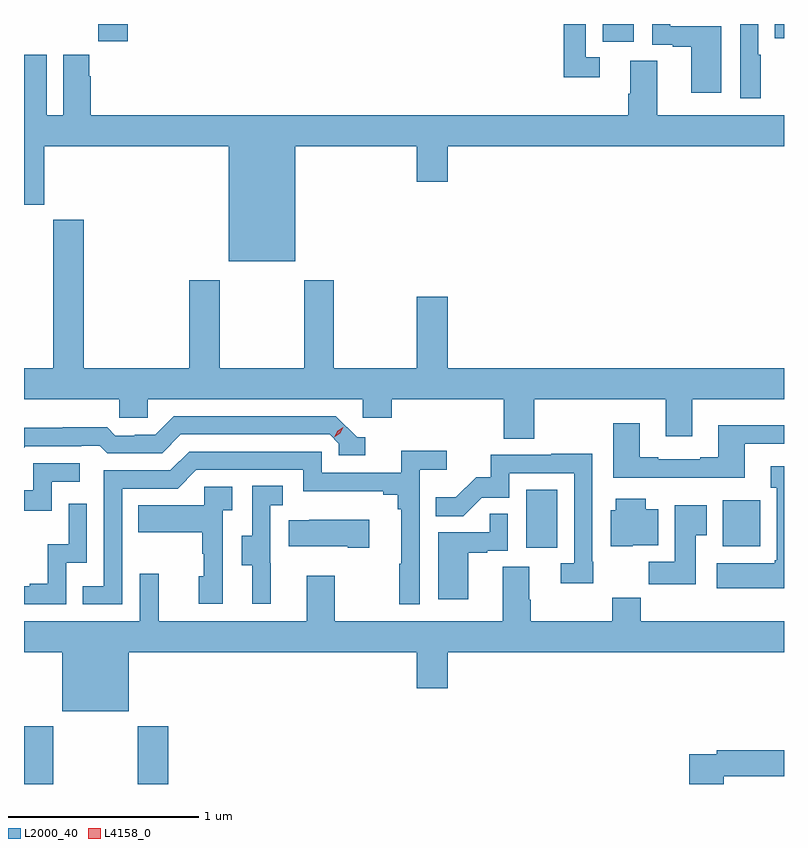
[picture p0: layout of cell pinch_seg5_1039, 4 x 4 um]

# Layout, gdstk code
import gdstk
lib = gdstk.Library(unit=1e-6, precision=1e-09)
def R(c, l, rs):  # rectangles x0, y0, x1, y1
    for r in rs: c.add(gdstk.rectangle(r[:2], r[2:], *l))
def P(c, l, *ps):  # polygons
    for p in ps: c.add(gdstk.Polygon(p, *l))
L2000_40 = (2000, 40)
L4158_0 = (4158, 0)

pinch_seg5_1039 = lib.new_cell('pinch_seg5_1039')
R(pinch_seg5_1039, L2000_40, [(834.269,853.403,834.423,853.708), (834.868,853.403,835.028,853.708), (836.912,854.646,837.076,854.953), (837.947,854.654,838.144,854.896), (837.314,857.31,837.478,857.403), (834.659,857.313,834.815,857.403), (838.219,857.329,838.269,857.403)])
P(pinch_seg5_1039, L2000_40, [(838.147,857.24),(838.134,857.24),(838.134,857.403),(838.038,857.403),(838.038,857.013),(838.147,857.013)],
  [(837.298,857.229),(837.225,857.229),(837.225,857.403),(837.109,857.403),(837.109,857.124),(837.298,857.124)],
  [(837.94,857.391),(837.671,857.391),(837.671,857.403),(837.576,857.403),(837.576,857.295),(837.683,857.295),(837.683,857.283),(837.782,857.283),(837.782,857.04),(837.94,857.04)],
  [(835.696,856.76),(836.336,856.76),(836.336,856.572),(836.5,856.572),(836.5,856.76),(838.269,856.76),(838.269,856.924),(837.601,856.924),(837.601,857.21),(837.461,857.21),(837.461,857.036),(837.449,857.036),(837.449,856.924),(834.62,856.924),(834.62,857.129),(834.613,857.129),(834.613,857.242),(834.476,857.242),(834.476,856.924),(834.388,856.924),(834.388,857.242),(834.269,857.242),(834.269,856.451),(834.376,856.451),(834.376,856.76),(835.346,856.76),(835.346,856.154),(835.696,856.154)],
  [(836.955,855.428),(837.647,855.428),(837.647,855.234),(837.787,855.234),(837.787,855.428),(838.269,855.428),(838.269,855.592),(836.5,855.592),(836.5,855.967),(836.336,855.967),(836.336,855.592),(835.899,855.592),(835.899,856.054),(835.744,856.054),(835.744,855.592),(835.299,855.592),(835.299,856.054),(835.139,856.054),(835.139,855.592),(834.584,855.592),(834.584,856.372),(834.424,856.372),(834.424,855.592),(834.269,855.592),(834.269,855.428),(834.771,855.428),(834.771,855.33),(834.921,855.33),(834.921,855.428),(836.052,855.428),(836.052,855.33),(836.204,855.33),(836.204,855.428),(836.795,855.428),(836.795,855.22),(836.955,855.22)],
  [(836.065,855.228),(836.022,855.228),(835.911,855.339),(835.058,855.339),(834.959,855.24),(834.852,855.24),(834.852,855.237),(834.749,855.237),(834.707,855.28),(834.474,855.28),(834.474,855.277),(834.269,855.277),(834.269,855.173),(834.276,855.18),(834.569,855.18),(834.569,855.183),(834.668,855.183),(834.707,855.144),(834.996,855.144),(835.095,855.243),(835.878,855.243),(835.926,855.195),(835.926,855.132),(836.065,855.132)],
  [(838.063,855.195),(838.269,855.195),(838.269,855.292),(837.923,855.292),(837.923,855.124),(837.827,855.124),(837.827,855.111),(837.607,855.111),(837.607,855.124),(837.511,855.124),(837.511,855.301),(837.371,855.301),(837.371,855.014),(838.063,855.014)],
  [(834.786,854.958),(835.077,854.958),(835.176,855.057),(835.74,855.057),(835.74,854.945),(836.159,854.945),(836.159,854.926),(836.236,854.926),(836.236,854.849),(836.255,854.849),(836.255,854.561),(836.244,854.561),(836.244,854.349),(836.352,854.349),(836.352,855.056),(836.494,855.056),(836.494,855.158),(836.255,855.158),(836.255,855.042),(835.836,855.042),(835.836,855.153),(835.139,855.153),(835.04,855.054),(834.69,855.054),(834.69,854.445),(834.577,854.445),(834.577,854.349),(834.786,854.349)],
  [(837.266,854.572),(837.261,854.572),(837.261,855.14),(837.043,855.14),(837.043,855.135),(836.725,855.135),(836.725,855.018),(836.648,855.018),(836.541,854.911),(836.437,854.911),(836.437,854.812),(836.581,854.812),(836.679,854.91),(836.823,854.91),(836.823,855.039),(837.165,855.039),(837.165,854.565),(837.093,854.565),(837.093,854.46),(837.266,854.46)],
  [(834.414,854.994),(834.562,854.994),(834.562,855.09),(834.318,855.09),(834.318,854.949),(834.269,854.949),(834.269,854.841),(834.414,854.841)],
  [(838.269,855.076),(838.199,855.076),(838.199,854.963),(838.232,854.963),(838.232,854.58),(838.219,854.58),(838.219,854.566),(837.915,854.566),(837.915,854.432),(838.269,854.432)],
  [(835.568,854.565),(835.566,854.565),(835.566,854.869),(835.63,854.869),(835.63,854.972),(835.47,854.972),(835.47,854.709),(835.415,854.709),(835.415,854.554),(835.469,854.554),(835.469,854.352),(835.568,854.352)],
  [(835.314,854.843),(835.366,854.843),(835.366,854.967),(835.218,854.967),(835.218,854.869),(834.871,854.869),(834.871,854.729),(835.206,854.729),(835.206,854.615),(835.216,854.615),(835.216,854.496),(835.19,854.496),(835.19,854.352),(835.314,854.352)],
  [(837.474,854.66),(837.607,854.66),(837.607,854.848),(837.541,854.848),(837.541,854.905),(837.383,854.905),(837.383,854.844),(837.356,854.844),(837.356,854.654),(837.474,854.654)],
  [(834.492,854.568),(834.6,854.568),(834.6,854.878),(834.504,854.878),(834.504,854.666),(834.395,854.666),(834.395,854.458),(834.299,854.458),(834.299,854.445),(834.269,854.445),(834.269,854.349),(834.492,854.349)],
  [(837.805,854.713),(837.862,854.713),(837.862,854.869),(837.695,854.869),(837.695,854.572),(837.556,854.572),(837.556,854.454),(837.805,854.454)],
  [(836.608,854.619),(836.708,854.619),(836.708,854.631),(836.814,854.631),(836.814,854.825),(836.719,854.825),(836.719,854.727),(836.45,854.727),(836.45,854.376),(836.608,854.376)],
  [(836.086,854.794),(835.771,854.794),(835.771,854.791),(835.663,854.791),(835.663,854.654),(835.973,854.654),(835.973,854.647),(836.086,854.647)],
  [(834.269,854.096),(834.47,854.096),(834.47,853.787),(834.82,853.787),(834.82,854.096),(836.336,854.096),(836.336,853.908),(836.5,853.908),(836.5,854.096),(838.269,854.096),(838.269,854.26),(837.515,854.26),(837.515,854.384),(837.364,854.384),(837.364,854.26),(836.937,854.26),(836.937,854.372),(836.929,854.372),(836.929,854.546),(836.789,854.546),(836.789,854.26),(835.905,854.26),(835.905,854.5),(835.757,854.5),(835.757,854.26),(834.977,854.26),(834.977,854.509),(834.879,854.509),(834.879,854.26),(834.269,854.26)],
  [(837.953,853.444),(838.269,853.444),(838.269,853.58),(837.916,853.58),(837.916,853.56),(837.77,853.56),(837.77,853.403),(837.953,853.403)])
P(pinch_seg5_1039, L4158_0, [(835.903,855.228),(835.903,855.228),(835.919,855.261),(835.949,855.281),(835.95,855.281),(835.95,855.28),(835.934,855.248),(835.903,855.228)])

lib.write_gds('pinch_seg5_1039.gds')
